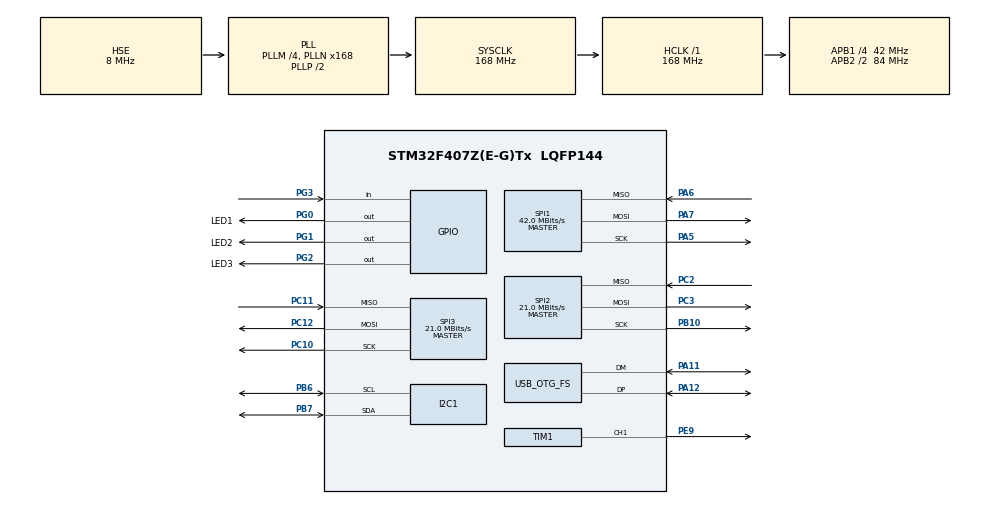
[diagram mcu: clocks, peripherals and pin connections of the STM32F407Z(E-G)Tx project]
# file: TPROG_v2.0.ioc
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Mcu.Family=STM32F4
Mcu.Name=STM32F407Z(E-G)Tx
Mcu.Package=LQFP144
NVIC.OTG_FS_IRQn=true\:0\:0\:false\:false\:true\:true\:true\:true
NVIC.PriorityGroup=NVIC_PRIORITYGROUP_4
PA11.Mode=Device_Only
PA11.Signal=USB_OTG_FS_DM
PA12.Mode=Device_Only
PA12.Signal=USB_OTG_FS_DP
PA13.Mode=Serial_Wire
PA13.Signal=SYS_JTMS-SWDIO
PA14.Mode=Serial_Wire
PA14.Signal=SYS_JTCK-SWCLK
PA5.Mode=Full_Duplex_Master
PA5.Signal=SPI1_SCK
PA6.Mode=Full_Duplex_Master
PA6.Signal=SPI1_MISO
PA7.Mode=Full_Duplex_Master
PA7.Signal=SPI1_MOSI
PB10.Mode=Full_Duplex_Master
PB10.Signal=SPI2_SCK
PB6.Mode=I2C
PB6.Signal=I2C1_SCL
PB7.Mode=I2C
PB7.Signal=I2C1_SDA
PC10.Mode=Full_Duplex_Master
PC10.Signal=SPI3_SCK
PC11.Mode=Full_Duplex_Master
PC11.Signal=SPI3_MISO
PC12.Mode=Full_Duplex_Master
PC12.Signal=SPI3_MOSI
PC14-OSC32_IN.Mode=LSE-External-Oscillator
PC14-OSC32_IN.Signal=RCC_OSC32_IN
PC15-OSC32_OUT.Mode=LSE-External-Oscillator
PC15-OSC32_OUT.Signal=RCC_OSC32_OUT
PC2.Mode=Full_Duplex_Master
PC2.Signal=SPI2_MISO
PC3.Mode=Full_Duplex_Master
PC3.Signal=SPI2_MOSI
PE9.Signal=S_TIM1_CH1
PG0.GPIO_Label=LED1
PG0.Signal=GPIO_Output
PG1.GPIO_Label=LED2
PG1.Signal=GPIO_Output
PG2.GPIO_Label=LED3
PG2.Signal=GPIO_Output
PG3.Signal=GPIO_Input
PH0-OSC_IN.Mode=HSE-External-Oscillator
PH0-OSC_IN.Signal=RCC_OSC_IN
PH1-OSC_OUT.Mode=HSE-External-Oscillator
PH1-OSC_OUT.Signal=RCC_OSC_OUT
ProjectManager.HeapSize=0x200
ProjectManager.StackSize=0x400
ProjectManager.TargetToolchain=STM32CubeIDE
RCC.48MHZClocksFreq_Value=48000000
RCC.AHBFreq_Value=168000000
RCC.APB1CLKDivider=RCC_HCLK_DIV4
RCC.APB1Freq_Value=42000000
RCC.APB1TimFreq_Value=84000000
RCC.APB2CLKDivider=RCC_HCLK_DIV2
RCC.APB2Freq_Value=84000000
RCC.APB2TimFreq_Value=168000000
RCC.CortexFreq_Value=168000000
RCC.HCLKFreq_Value=168000000
RCC.HSE_VALUE=8000000
RCC.HSI_VALUE=16000000
RCC.PLLM=4
RCC.PLLN=168
RCC.PLLQ=7
RCC.SYSCLKFreq_VALUE=168000000
RCC.SYSCLKSource=RCC_SYSCLKSOURCE_PLLCLK
RCC.VCOOutputFreq_Value=336000000
SH.S_TIM1_CH1.0=TIM1_CH1,PWM Generation1 CH1
SPI1.BaudRatePrescaler=SPI_BAUDRATEPRESCALER_2
SPI1.CalculateBaudRate=42.0 MBits/s
SPI1.Direction=SPI_DIRECTION_2LINES
SPI1.Mode=SPI_MODE_MASTER
SPI1.VirtualType=VM_MASTER
SPI2.CalculateBaudRate=21.0 MBits/s
SPI2.Direction=SPI_DIRECTION_2LINES
SPI2.Mode=SPI_MODE_MASTER
SPI2.VirtualType=VM_MASTER
SPI3.CalculateBaudRate=21.0 MBits/s
SPI3.Direction=SPI_DIRECTION_2LINES
SPI3.Mode=SPI_MODE_MASTER
SPI3.VirtualType=VM_MASTER
TIM1.Channel-PWM\ Generation1\ CH1=TIM_CHANNEL_1
TIM14.Prescaler=83
USB_DEVICE.CLASS_NAME_FS=CDC
USB_DEVICE.VirtualMode-CDC_FS=Cdc
USB_DEVICE.VirtualModeFS=Cdc_FS
USB_OTG_FS.VirtualMode=Device_Only
VP_TIM14_VS_ClockSourceINT.Mode=Enable_Timer
VP_TIM1_VS_ClockSourceINT.Mode=Internal
VP_USB_DEVICE_VS_USB_DEVICE_CDC_FS.Mode=CDC_FS
board=custom

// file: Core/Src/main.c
/* USER CODE BEGIN Header */
/**
  ******************************************************************************
  * @file           : main.c
  * @brief          : Main program body
  ******************************************************************************
  * @attention
  *
  * Copyright (c) 2023 STMicroelectronics.
  * All rights reserved.
  *
  * This software is licensed under terms that can be found in the LICENSE file
  * in the root directory of this software component.
  * If no LICENSE file comes with this software, it is provided AS-IS.
  *
  ******************************************************************************
  */
/* USER CODE END Header */
#include "main.h"
#include "i2c.h"
#include "spi.h"
#include "tim.h"
#include "usb_device.h"
#include "gpio.h"

/* USER CODE BEGIN Includes */
#include "structures.h"
#include "cmd_JSON.h"
#include <string.h>
#include <stdlib.h>
#include "usbd_cdc_if.h"
/* USER CODE END Includes */

/* USER CODE BEGIN PV */
char json_com [1024];
uint8_t flag_com = 0;             // флаг того, что команда пришла полностью. =1 значит можно выполнять команду
/* USER CODE END PV */

void SystemClock_Config(void);

int main(void)
{

  /* MCU Configuration--------------------------------------------------------*/

  /* Reset of all peripherals, Initializes the Flash interface and the Systick. */
  HAL_Init();

  /* Configure the system clock */
  SystemClock_Config();

  /* Initialize all configured peripherals */
  MX_GPIO_Init();
  MX_I2C1_Init();
  MX_SPI1_Init();
  MX_TIM1_Init();
  MX_SPI2_Init();
  MX_SPI3_Init();
  MX_USB_DEVICE_Init();
  MX_TIM14_Init();
  /* USER CODE BEGIN 2 */
  HAL_TIM_Base_Start(&htim14);
  /* USER CODE END 2 */

  /* Infinite loop */
  /* USER CODE BEGIN WHILE */
  while (1)
  {
//	if (flag_com == 1)                                    // flag_com выставляется в usbd_cdc_if.c -> CDC_Receive_FS
//	{
//		JSON_INPUT(json_com);
//		for (uint16_t y = 0; y < 1024; y++)               // затирание массива для новой команды
//			json_com[y] = 0;
//		flag_com = 0;                                     // сбрасывание флага
//	}

/*----------------------------------------------------------------------------*/
	// Тест приема
//	// ф-ция ожидает получение команды с компьютера и отправляет ее обратно (flag_com выставляется в usbd_cdc_if.c -> CDC_Receive_FS)
//	if (flag_com == 1)                                    // flag_com выставляется в usbd_cdc_if.c -> CDC_Receive_FS
//	{
//		CDC_Transmit_FS(json_com, 1024);                  // отправка обратно по юсб текста команды
//		HAL_Delay(100);
//		CDC_Transmit_FS("\r\n", 2);
//		HAL_Delay(100);
//
//		for (uint16_t y = 0; y < 1024; y++)               // затирание массива для новой команды
//			json_com[y] = 0;
//		flag_com = 0;                                     // сбрасывание флага
//	}
/*----------------------------------------------------------------------------*/
//	// Тест отправки сообщения
//	HAL_Delay(1000);
//	CDC_Transmit_FS("Hello world ", 12);

	// инициализация
	JSON_INPUT("{\"COMMAND\":\"INIT_GPIO\",\"MODE\":\"OUTPUT\",\"PORT\":\"PORTC\",\"PINS\":7,\"TYPE\":\"CONTROL\"}");
	JSON_INPUT("{\"COMMAND\":\"INIT_GPIO\",\"MODE\":\"OUTPUT\",\"PORT\":\"PORTF\",\"PINS\":32767,\"TYPE\":\"ADDR1\"}");
	JSON_INPUT("{\"COMMAND\":\"INFO\",\"MEMORY\":32767,\"STEP\":15}");
	JSON_INPUT("{\"COMMAND\":\"INIT_GPIO\",\"MODE\":\"OUTPUT\",\"PORT\":\"PORTA\",\"PINS\":255,\"TYPE\":\"DATA\"}");
	JSON_INPUT("{\"COMMAND\":\"MODIFIC_GPIO\",\"PORT\":\"PORTA\",\"PINS\":170,\"STATUS\":1,\"ACTION\":0}");

	// запись
	JSON_INPUT("{\"COMMAND\":\"MODIFIC_GPIO\",\"PORT\":\"PORTC\",\"PINS\":6,\"STATUS\":0,\"ACTION\":1}");
	JSON_INPUT("{\"COMMAND\":\"DELAY\",\"TIME\":1000,\"ACTION\":1}");
	JSON_INPUT("{\"COMMAND\":\"MODIFIC_GPIO\",\"PORT\":\"PORTC\",\"PINS\":6,\"STATUS\":1,\"ACTION\":1}");
	JSON_INPUT("{\"COMMAND\":\"DATA_CHANGE\",\"ACTION\":1}");
	JSON_INPUT("{\"COMMAND\":\"WRITE\"}");

	// чтение
	JSON_INPUT("{\"COMMAND\":\"INIT_GPIO\",\"MODE\":\"INPUT\",\"PORT\":\"PORTA\",\"PINS\":255,\"TYPE\":\"DATA\"}");

	JSON_INPUT("{\"COMMAND\":\"MODIFIC_GPIO\",\"PORT\":\"PORTC\",\"PINS\":3,\"STATUS\":0,\"ACTION\":2}");
	JSON_INPUT("{\"COMMAND\":\"DELAY\",\"TIME\":100,\"ACTION\":2}");
	JSON_INPUT("{\"COMMAND\":\"READ_GPIO\",\"PORT\":\"PORTA\",\"PINS\":255,\"ACTION\":2}");
	JSON_INPUT("{\"COMMAND\":\"MODIFIC_GPIO\",\"PORT\":\"PORTC\",\"PINS\":3,\"STATUS\":1,\"ACTION\":2}");
	JSON_INPUT("{\"COMMAND\":\"DATA_CHANGE\",\"ACTION\":2}");
	JSON_INPUT("{\"COMMAND\":\"READ\"}");

	HAL_Delay(100000);
    /* USER CODE END WHILE */

  }
}

void SystemClock_Config(void)
{
  RCC_OscInitTypeDef RCC_OscInitStruct = {0};
  RCC_ClkInitTypeDef RCC_ClkInitStruct = {0};

  /** Configure the main internal regulator output voltage
  */
  __HAL_RCC_PWR_CLK_ENABLE();
  __HAL_PWR_VOLTAGESCALING_CONFIG(PWR_REGULATOR_VOLTAGE_SCALE1);

  /** Initializes the RCC Oscillators according to the specified parameters
  * in the RCC_OscInitTypeDef structure.
  */
  RCC_OscInitStruct.OscillatorType = RCC_OSCILLATORTYPE_HSE;
  RCC_OscInitStruct.HSEState = RCC_HSE_ON;
  RCC_OscInitStruct.PLL.PLLState = RCC_PLL_ON;
  RCC_OscInitStruct.PLL.PLLSource = RCC_PLLSOURCE_HSE;
  RCC_OscInitStruct.PLL.PLLM = 4;
  RCC_OscInitStruct.PLL.PLLN = 168;
  RCC_OscInitStruct.PLL.PLLP = RCC_PLLP_DIV2;
  RCC_OscInitStruct.PLL.PLLQ = 7;
  if (HAL_RCC_OscConfig(&RCC_OscInitStruct) != HAL_OK)
  {
    Error_Handler();
  }

  /** Initializes the CPU, AHB and APB buses clocks
  */
  RCC_ClkInitStruct.ClockType = RCC_CLOCKTYPE_HCLK|RCC_CLOCKTYPE_SYSCLK
                              |RCC_CLOCKTYPE_PCLK1|RCC_CLOCKTYPE_PCLK2;
  RCC_ClkInitStruct.SYSCLKSource = RCC_SYSCLKSOURCE_PLLCLK;
  RCC_ClkInitStruct.AHBCLKDivider = RCC_SYSCLK_DIV1;
  RCC_ClkInitStruct.APB1CLKDivider = RCC_HCLK_DIV4;
  RCC_ClkInitStruct.APB2CLKDivider = RCC_HCLK_DIV2;

  if (HAL_RCC_ClockConfig(&RCC_ClkInitStruct, FLASH_LATENCY_5) != HAL_OK)
  {
    Error_Handler();
  }
}

void Error_Handler(void)
{
  __disable_irq();
  while (1)
  {
  }
}
